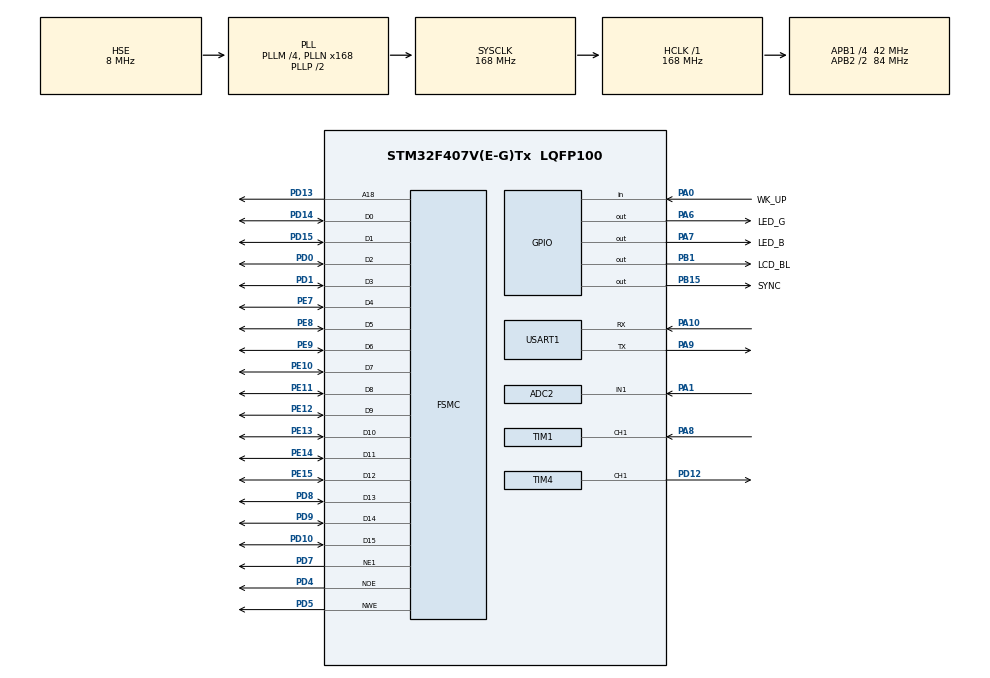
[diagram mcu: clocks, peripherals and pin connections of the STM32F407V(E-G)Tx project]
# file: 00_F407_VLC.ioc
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ADC2.Channel-0\#ChannelRegularConversion=ADC_CHANNEL_1
ADC2.ClockPrescaler=ADC_CLOCK_SYNC_PCLK_DIV4
ADC2.ExternalTrigConv=ADC_EXTERNALTRIGCONV_T3_TRGO
ADC2.NbrOfConversionFlag=1
ADC2.Rank-0\#ChannelRegularConversion=1
ADC2.SamplingTime-0\#ChannelRegularConversion=ADC_SAMPLETIME_480CYCLES
Dma.ADC2.0.Direction=DMA_PERIPH_TO_MEMORY
Dma.ADC2.0.FIFOMode=DMA_FIFOMODE_DISABLE
Dma.ADC2.0.Instance=DMA2_Stream2
Dma.ADC2.0.MemDataAlignment=DMA_MDATAALIGN_HALFWORD
Dma.ADC2.0.MemInc=DMA_MINC_ENABLE
Dma.ADC2.0.Mode=DMA_NORMAL
Dma.ADC2.0.PeriphDataAlignment=DMA_PDATAALIGN_HALFWORD
Dma.ADC2.0.PeriphInc=DMA_PINC_DISABLE
Dma.ADC2.0.Priority=DMA_PRIORITY_LOW
Dma.Request0=ADC2
FSMC.AddressSetupTime1=0
FSMC.BusTurnAroundDuration1=15
FSMC.DataSetupTime1=15
FSMC.ExtendedAddressSetupTime1=0
FSMC.ExtendedBusTurnAroundDuration1=15
FSMC.ExtendedDataSetupTime1=1
FSMC.ExtendedMode1=FSMC_EXTENDED_MODE_ENABLE
Mcu.Family=STM32F4
Mcu.Name=STM32F407V(E-G)Tx
Mcu.Package=LQFP100
NVIC.DMA2_Stream2_IRQn=true\:0\:0\:false\:false\:true\:false\:true\:true
NVIC.PriorityGroup=NVIC_PRIORITYGROUP_4
NVIC.TIM1_CC_IRQn=true\:1\:0\:true\:false\:true\:true\:true\:true
NVIC.TIM2_IRQn=true\:1\:0\:true\:false\:true\:true\:true\:true
NVIC.TIM5_IRQn=true\:2\:0\:true\:false\:true\:true\:true\:true
NVIC.TIM6_DAC_IRQn=true\:5\:0\:true\:false\:true\:true\:true\:true
NVIC.TIM7_IRQn=true\:2\:0\:true\:false\:true\:true\:true\:true
PA0-WKUP.GPIO_Label=WK_UP
PA0-WKUP.GPIO_PuPd=GPIO_PULLDOWN
PA0-WKUP.Signal=GPIO_Input
PA1.Signal=ADCx_IN1
PA10.Mode=Asynchronous
PA10.Signal=USART1_RX
PA13.Mode=Serial_Wire
PA13.Signal=SYS_JTMS-SWDIO
PA14.Mode=Serial_Wire
PA14.Signal=SYS_JTCK-SWCLK
PA6.GPIO_Label=LED_G
PA6.GPIO_PuPd=GPIO_PULLUP
PA6.PinState=GPIO_PIN_SET
PA6.Signal=GPIO_Output
PA7.GPIO_Label=LED_B
PA7.GPIO_PuPd=GPIO_PULLUP
PA7.PinState=GPIO_PIN_SET
PA7.Signal=GPIO_Output
PA8.GPIO_PuPd=GPIO_NOPULL
PA8.Signal=S_TIM1_CH1
PA9.Mode=Asynchronous
PA9.Signal=USART1_TX
PB1.GPIO_Label=LCD_BL
PB1.GPIO_Speed=GPIO_SPEED_FREQ_HIGH
PB1.Signal=GPIO_Output
PB15.GPIO_Label=SYNC
PB15.GPIO_PuPd=GPIO_PULLDOWN
PB15.GPIO_Speed=GPIO_SPEED_FREQ_VERY_HIGH
PB15.Signal=GPIO_Output
PD0.Mode=16b-d1
PD0.Signal=FSMC_D2
PD1.Mode=16b-d1
PD1.Signal=FSMC_D3
PD10.Mode=16b-d1
PD10.Signal=FSMC_D15
PD12.GPIO_Speed=GPIO_SPEED_FREQ_HIGH
PD12.Signal=S_TIM4_CH1
PD13.Mode=A18_1
PD13.Signal=FSMC_A18
PD14.Mode=16b-d1
PD14.Signal=FSMC_D0
PD15.Mode=16b-d1
PD15.Signal=FSMC_D1
PD4.Mode=Lcd1
PD4.Signal=FSMC_NOE
PD5.Mode=Lcd1
PD5.Signal=FSMC_NWE
PD7.Mode=NorPsramChipSelect1_1
PD7.Signal=FSMC_NE1
PD8.Mode=16b-d1
PD8.Signal=FSMC_D13
PD9.Mode=16b-d1
PD9.Signal=FSMC_D14
PE10.Mode=16b-d1
PE10.Signal=FSMC_D7
PE11.Mode=16b-d1
PE11.Signal=FSMC_D8
PE12.Mode=16b-d1
PE12.Signal=FSMC_D9
PE13.Mode=16b-d1
PE13.Signal=FSMC_D10
PE14.Mode=16b-d1
PE14.Signal=FSMC_D11
PE15.Mode=16b-d1
PE15.Signal=FSMC_D12
PE7.Mode=16b-d1
PE7.Signal=FSMC_D4
PE8.Mode=16b-d1
PE8.Signal=FSMC_D5
PE9.Mode=16b-d1
PE9.Signal=FSMC_D6
PH0-OSC_IN.Mode=HSE-External-Oscillator
PH0-OSC_IN.Signal=RCC_OSC_IN
PH1-OSC_OUT.Mode=HSE-External-Oscillator
PH1-OSC_OUT.Signal=RCC_OSC_OUT
ProjectManager.HeapSize=0x200
ProjectManager.StackSize=0x400
ProjectManager.TargetToolchain=STM32CubeIDE
RCC.48MHZClocksFreq_Value=84000000
RCC.AHBFreq_Value=168000000
RCC.APB1CLKDivider=RCC_HCLK_DIV4
RCC.APB1Freq_Value=42000000
RCC.APB1TimFreq_Value=84000000
RCC.APB2CLKDivider=RCC_HCLK_DIV2
RCC.APB2Freq_Value=84000000
RCC.APB2TimFreq_Value=168000000
RCC.CortexFreq_Value=168000000
RCC.HCLKFreq_Value=168000000
RCC.HSE_VALUE=8000000
RCC.HSI_VALUE=16000000
RCC.LSE_VALUE=32768
RCC.PLLM=4
RCC.PLLN=168
RCC.PLLSourceVirtual=RCC_PLLSOURCE_HSE
RCC.SYSCLKFreq_VALUE=168000000
RCC.SYSCLKSource=RCC_SYSCLKSOURCE_PLLCLK
RCC.VCOOutputFreq_Value=336000000
SH.ADCx_IN1.0=ADC2_IN1,IN1
SH.S_TIM1_CH1.0=TIM1_CH1,Input_Capture1_from_TI1
SH.S_TIM4_CH1.0=TIM4_CH1,PWM Generation1 CH1
STMicroelectronics.X-CUBE-ALGOBUILD.1.4.0.LibraryCcDSPOoLibraryJjDSPOoLibrary=true
TIM1.Channel-Input_Capture1_from_TI1=TIM_CHANNEL_1
TIM1.ICFilter_CH1=8
TIM1.Prescaler=84 - 1
TIM2.Period=2625 - 1
TIM2.Prescaler=1 - 1
TIM3.AutoReloadPreload=TIM_AUTORELOAD_PRELOAD_ENABLE
TIM3.Period=525 - 1
TIM3.Prescaler=10 - 1
TIM3.TIM_MasterOutputTrigger=TIM_TRGO_UPDATE
TIM4.Channel-PWM\ Generation1\ CH1=TIM_CHANNEL_1
TIM4.OCPolarity_1=TIM_OCPOLARITY_LOW
TIM4.Period=0
TIM4.Prescaler=1000-1
TIM5.Period=1000 - 1
TIM5.Prescaler=84 - 1
TIM6.Period=5000 - 1
TIM6.Prescaler=8400 - 1
TIM7.Period=10
TIM7.Prescaler=84 - 1
USART1.VirtualMode=VM_ASYNC
VP_STMicroelectronics.X-CUBE-ALGOBUILD_VS_DSPOoLibraryJjLibrary_1.4.0_1.4.0.Mode=DSPOoLibraryJjLibrary
VP_TIM1_VS_ClockSourceINT.Mode=Internal
VP_TIM2_VS_ClockSourceINT.Mode=Internal
VP_TIM3_VS_ClockSourceINT.Mode=Internal
VP_TIM4_VS_ClockSourceINT.Mode=Internal
VP_TIM5_VS_ClockSourceINT.Mode=Internal
VP_TIM6_VS_ClockSourceINT.Mode=Enable_Timer
VP_TIM7_VS_ClockSourceINT.Mode=Enable_Timer
board=custom

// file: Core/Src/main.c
/* USER CODE BEGIN Header */
/**
  ******************************************************************************
  * @file           : main.c
  * @brief          : Main program body
  ******************************************************************************
  * @attention
  *
  * Copyright (c) 2025 STMicroelectronics.
  * All rights reserved.
  *
  * This software is licensed under terms that can be found in the LICENSE file
  * in the root directory of this software component.
  * If no LICENSE file comes with this software, it is provided AS-IS.
  *
  ******************************************************************************
  */
/* USER CODE END Header */
#include "main.h"
#include "adc.h"
#include "dma.h"
#include "tim.h"
#include "usart.h"
#include "gpio.h"
#include "fsmc.h"

/* USER CODE BEGIN Includes */
#include "../../Drivers/BSP/LCD/lcd.h"
#include "arm_math.h"
#include "../../Drivers/BSP/RSS/rss.h"	//三点定位法
#include "../../Drivers/BSP/BEEP/beep.h"
#include "../../Drivers/BSP/KEY/key.h"

/* USER CODE END Includes */

/* USER CODE BEGIN PD */
#define SAMPLE_SIZE 480 * 20	//采样点
#define SAMPLE_RATE 16000	//采样率
#define PI 			3.14159265359f
#define SYNC_CODE_NUM 8
#define THRESHOLD 1800
#define LED_CODE_NUM 8
#define FFH_CODE_NUM 8
#define LED_MESSAGE_NUM 8	//LED消息长度
#define SYNC_NUM_MAX 15 * 20

#define SOUND_FLAG	A	//接收到LED1的数据为A时进入接收音频信息状态
#define TONE_MAX_NUM   100	//音频信息缓冲区大小
/* USER CODE END PD */

/* USER CODE BEGIN PM */
//void fft_process(float32_t* fft_in, float32_t* mag, float32_t* freq);
//void filter_test();

/* USER CODE END PM */

/* USER CODE BEGIN PV */
uint16_t adc_buffer[SAMPLE_SIZE];	//ADC采样数据缓冲区

__IO uint8_t AdcConvEnd = 0;		//ADC采样完成标志

uint16_t capture_buffer[2];			//输入捕获值
uint8_t capture_state = 0;			//0为上升沿捕获，1为下降沿捕获

uint8_t logic_buffer[SAMPLE_SIZE];	//逻辑数据缓冲区，1或0
uint16_t sync_code[SYNC_CODE_NUM] = {1,1,1,0,1,0,1,0};
uint16_t LED0_code[LED_CODE_NUM] = {0,0,0,0,1,0,1,0};	//10
uint16_t LED1_code[LED_CODE_NUM] = {0,0,1,0,1,1,0,1};
uint16_t LED2_code[LED_CODE_NUM] = {0,0,0,1,1,0,0,1};
uint16_t FFH[FFH_CODE_NUM] = {1,1,1,1,1,1,1,1};

int sync_index[SYNC_NUM_MAX];	//存放同步头的索引值
uint8_t sync_num = 0;	//同步头个数
int led_index[SYNC_NUM_MAX];		//存放对应同步头索引值的led类型，0为led0，1为led1，2为led2，-1为无

//存放led对应的光强值
uint32_t led0_intensity = 0;
uint32_t led1_intensity = 0;
uint32_t led2_intensity = 0;

//存放led的位置
Point led_locations[3] = {{0, 10}, {-10, 0}, {10, 0}};	//led0在(0, 10)，led1在(-10, 0)，led2在(10, 0)

//存放PD位置
Point PDlocation = {-1, -1};	//初始化为无效值

//存放led消息
uint8_t led0_message = 0;
uint8_t led1_message = 0;
uint8_t led2_message = 0;

//存放音频的音调和节拍信息
float tones[TONE_MAX_NUM];
uint8_t beats[TONE_MAX_NUM];
uint8_t tone_index = 0;
uint8_t is_recording = 0;

volatile uint8_t message_mode = 0;	//接收的led_message内容 0-矩阵按键	1-乐谱信息
uint8_t debounce_count = 0;	//消抖用
uint8_t get_music_done = 0;	//音乐获取完毕标志
uint32_t beat = 0;	//节拍用
uint8_t play_music_done = 1;

/* USER CODE END PV */

void SystemClock_Config(void);

int main(void)
{

  /* MCU Configuration--------------------------------------------------------*/

  /* Reset of all peripherals, Initializes the Flash interface and the Systick. */
  HAL_Init();

  /* Configure the system clock */
  SystemClock_Config();

  /* Initialize all configured peripherals */
  MX_GPIO_Init();
  MX_DMA_Init();
  MX_FSMC_Init();
  MX_USART1_UART_Init();
  MX_TIM3_Init();
  MX_TIM1_Init();
  MX_TIM2_Init();
  MX_ADC2_Init();
  MX_TIM4_Init();
  MX_TIM5_Init();
  MX_TIM6_Init();
  MX_TIM7_Init();
  /* USER CODE BEGIN 2 */
  //HAL_TIM_Base_Start_IT(&htim6);
  lcd_init();
//  HAL_TIM_Base_Start(&htim3);
  HAL_TIM_IC_Start_IT(&htim1, TIM_CHANNEL_1);
  HAL_TIM_Base_Start_IT(&htim5);

//  lcd_show_string(30, 90, 50, 16, 16, "1K: ", RED);
//  lcd_show_string(30, 110, 50, 16, 16, "2K: ", RED);
//  lcd_show_string(30, 130, 50, 16, 16, "5K: ", RED);
	//初始化同步索引与led索引数组为全-1
	for(int i = 0; i < SYNC_NUM_MAX; i++)
  	{
		sync_index[i] = -1;
		led_index[i] = -1;
  	}

  //filter_test();
  /* USER CODE END 2 */

  /* Infinite loop */
  /* USER CODE BEGIN WHILE */
  while (1)
  {
	  if(key_scan()) {
		  message_mode = (message_mode + 1) % 2;
		  HAL_GPIO_TogglePin(LED_G_GPIO_Port, LED_G_Pin);
	  }
	  if(capture_state == 2 && AdcConvEnd)	//检测buffer是否填满
	  {
		  AdcConvEnd = 0;
		  //HAL_GPIO_TogglePin(LED_B_GPIO_Port, LED_B_Pin);
		  capture_state = 0;
		  HAL_TIM_Base_Stop(&htim3);	//一个buffer填满后重新捕获以同步时钟

		  to_logic();
		  sync();
		  find_led();
		  get_led_intensity();

		  if(message_mode && play_music_done) {
			  get_music();	//获取乐谱信息
			  play_music_done = 0;
			  get_music_done = 1;
			  HAL_TIM_Base_Start_IT(&htim7);	//开始音乐定时器中断
		  }
		  else {
			  get_led_message();
		  }

		  get_location();	//获取PD位置
		  HAL_TIM_IC_Start_IT(&htim1, TIM_CHANNEL_1);
		  HAL_GPIO_TogglePin(LED_B_GPIO_Port, LED_B_Pin);
		  HAL_TIM_Base_Start_IT(&htim6);	//开始LCD定时器中断

	  }

//		  lcd_show_string(30, 90, 50, 16, 16, "1K: ", RED);
//		  lcd_show_string(30, 110, 50, 16, 16, "2K: ", RED);
//		  lcd_show_string(30, 130, 50, 16, 16, "5K: ", RED);
		  //lcd_clear(WHITE);

    /* USER CODE END WHILE */

  }
}

void SystemClock_Config(void)
{
  RCC_OscInitTypeDef RCC_OscInitStruct = {0};
  RCC_ClkInitTypeDef RCC_ClkInitStruct = {0};

  /** Configure the main internal regulator output voltage
  */
  __HAL_RCC_PWR_CLK_ENABLE();
  __HAL_PWR_VOLTAGESCALING_CONFIG(PWR_REGULATOR_VOLTAGE_SCALE1);

  /** Initializes the RCC Oscillators according to the specified parameters
  * in the RCC_OscInitTypeDef structure.
  */
  RCC_OscInitStruct.OscillatorType = RCC_OSCILLATORTYPE_HSE;
  RCC_OscInitStruct.HSEState = RCC_HSE_ON;
  RCC_OscInitStruct.PLL.PLLState = RCC_PLL_ON;
  RCC_OscInitStruct.PLL.PLLSource = RCC_PLLSOURCE_HSE;
  RCC_OscInitStruct.PLL.PLLM = 4;
  RCC_OscInitStruct.PLL.PLLN = 168;
  RCC_OscInitStruct.PLL.PLLP = RCC_PLLP_DIV2;
  RCC_OscInitStruct.PLL.PLLQ = 4;
  if (HAL_RCC_OscConfig(&RCC_OscInitStruct) != HAL_OK)
  {
    Error_Handler();
  }

  /** Initializes the CPU, AHB and APB buses clocks
  */
  RCC_ClkInitStruct.ClockType = RCC_CLOCKTYPE_HCLK|RCC_CLOCKTYPE_SYSCLK
                              |RCC_CLOCKTYPE_PCLK1|RCC_CLOCKTYPE_PCLK2;
  RCC_ClkInitStruct.SYSCLKSource = RCC_SYSCLKSOURCE_PLLCLK;
  RCC_ClkInitStruct.AHBCLKDivider = RCC_SYSCLK_DIV1;
  RCC_ClkInitStruct.APB1CLKDivider = RCC_HCLK_DIV4;
  RCC_ClkInitStruct.APB2CLKDivider = RCC_HCLK_DIV2;

  if (HAL_RCC_ClockConfig(&RCC_ClkInitStruct, FLASH_LATENCY_5) != HAL_OK)
  {
    Error_Handler();
  }
}

/* USER CODE BEGIN 4 */

void HAL_TIM_PeriodElapsedCallback(TIM_HandleTypeDef *htim)
{
	if(htim->Instance == TIM2)
	{
		__HAL_TIM_SET_COUNTER(&htim3, 0);	//计时值清零
		HAL_TIM_Base_Start(&htim3);		//开启16k定时器3
		HAL_ADC_Start_DMA(&hadc2, (uint32_t*)adc_buffer, SAMPLE_SIZE);	//进行ADCDMA采集
		HAL_TIM_Base_Stop_IT(&htim2);	//关闭32k定时器中断
	}
//	if(htim->Instance == TIM3)
//	{
//		HAL_GPIO_TogglePin(SYNC_GPIO_Port, SYNC_Pin);
//	}
	else if(htim->Instance == TIM5)
	{
		debounce_count++;	//每1ms自增一次
		beat++;
	}
	else if(htim->Instance == TIM6)		//lcd每500ms刷新一次内容
	{
		//LCD
		char string_x[30];
		char string_y[30];
		char led0_message_str[30];
		char led1_message_str[30];
		char led2_message_str[30];
		sprintf(string_x, "x: %.3f", PDlocation.x);
		sprintf(string_y, "y: %.3f", PDlocation.y);
		sprintf(led0_message_str, "LED0: %d", led0_message);
		sprintf(led1_message_str, "LED1: %X", led1_message);
		sprintf(led2_message_str, "LED2: %d", led2_message);
		lcd_clear(WHITE);
		lcd_show_xnum(30, 30, led0_intensity, 4, 16, 0X80, RED);
		lcd_show_xnum(110, 30, led1_intensity, 4, 16, 0X80, RED);
		lcd_show_xnum(190, 30, led2_intensity, 4, 16, 0X80, RED);
		// lcd_show_xnum(30, 240, x, 4, 16, 0X00, RED);
		// lcd_show_xnum(60, 240, x_small, 4, 16, 0X00, RED);
		// lcd_show_xnum(30, 270, y, 4, 16, 0X00, RED);
		// lcd_show_xnum(60, 270, y_small, 4, 16, 0X00, RED);
		lcd_show_string(60, 60, 200, 32, 32, string_x, BLUE);
		lcd_show_string(60, 90, 200, 32, 32, string_y, BLUE);
		lcd_show_string(60, 150, 200, 32, 32, led0_message_str, DARKBLUE);
		lcd_show_string(60, 180, 200, 32, 32, led1_message_str, DARKBLUE);
		lcd_show_string(60, 210, 200, 32, 32, led2_message_str, DARKBLUE);
		HAL_TIM_Base_Stop_IT(&htim6);	//关闭LCD定时器中断
	}
	else if(htim->Instance == TIM7)
	{
		if(get_music_done)
		{
			play_music();

		}
	}
}

void HAL_TIM_IC_CaptureCallback(TIM_HandleTypeDef *htim)
{
	if(htim->Instance == TIM1)
	{
		switch(capture_state)
		{
			case 0 :
				capture_buffer[0] = HAL_TIM_ReadCapturedValue(&htim1, TIM_CHANNEL_1);	//捕获上升沿
				__HAL_TIM_SET_CAPTUREPOLARITY(&htim1, TIM_CHANNEL_1, TIM_ICPOLARITY_FALLING);
				capture_state = 1;
				break;
			case 1 :
				capture_buffer[1] = HAL_TIM_ReadCapturedValue(&htim1, TIM_CHANNEL_1);	//捕获下降沿
				if(capture_buffer[1] - capture_buffer[0] <= 50)	//高电平时间太短，判定为误判
				{
					__HAL_TIM_SET_CAPTUREPOLARITY(&htim1, TIM_CHANNEL_1, TIM_ICPOLARITY_RISING);
					capture_state = 0;
				}
				else
				{
					__HAL_TIM_SET_CAPTUREPOLARITY(&htim1, TIM_CHANNEL_1, TIM_ICPOLARITY_RISING);
					capture_state = 2;
					HAL_TIM_IC_Stop_IT(&htim1, TIM_CHANNEL_1);	//关闭捕获

//					HAL_TIM_Base_Start(&htim3);		//开启定时器
					__HAL_TIM_SET_COUNTER(&htim2, 0);	//计时值清零
					HAL_TIM_Base_Start_IT(&htim2);	//开始32k定时器中断
//					HAL_ADC_Start_DMA(&hadc2, (uint32_t*)adc_buffer, SAMPLE_SIZE);	//进行ADCDMA采集
				}
				break;
		}

	}

}

void to_logic()
{
	for(int i = 0; i < SAMPLE_SIZE; i++)
	{
		if(adc_buffer[i] > THRESHOLD)
		{
			logic_buffer[i] = 1;
		}
		else
		{
			logic_buffer[i] = 0;
		}
	}
}

void sync()
{
	sync_num = 0;
	for(int i = 0; i < SAMPLE_SIZE - SYNC_CODE_NUM; i++)
	{
		uint8_t sync_score = 0;
		for(int j = i; j < i + SYNC_CODE_NUM; j++)
		{
			if(logic_buffer[j] == sync_code[j - i])
			{
				sync_score++;
			}
		}
		if(sync_score >= 8)
		{
			sync_index[sync_num] = i;
			sync_num++;
		}
	}
}

void find_led()
{
	for(int i = 0; i < sync_num - 1; i++)	//舍弃最后一个同步头，防止越界
	{
		int index = sync_index[i];
		uint8_t led0_score = 0;
		uint8_t led1_score = 0;
		uint8_t led2_score = 0;
		if(index > -1)
		{
			for(int j = index + SYNC_CODE_NUM; j < index + SYNC_CODE_NUM + LED_CODE_NUM; j++)
			{
				if(logic_buffer[j] == LED0_code[j - index - SYNC_CODE_NUM])
				{
					led0_score++;
				}
				if(logic_buffer[j] == LED1_code[j - index - SYNC_CODE_NUM])
				{
					led1_score++;
				}
				if(logic_buffer[j] == LED2_code[j - index - SYNC_CODE_NUM])
				{
					led2_score++;
				}
			}
			if(led0_score >= 8)
			{
				led_index[i] = 0;
			}
			else if(led1_score >= 8)
			{
				led_index[i] = 1;
			}
			else if(led2_score >= 8)
			{
				led_index[i] = 2;
			}
		}
	}
}

void get_led_intensity()
{
	uint32_t led0_intensity_sum = 0;
	uint32_t led1_intensity_sum = 0;
	uint32_t led2_intensity_sum = 0;

	uint16_t led0_num = 0;
	uint16_t led1_num = 0;
	uint16_t led2_num = 0;

	for(int i = 0; i < sync_num - 1; i++)	//舍弃最后一个同步头，防止越界
	{
		int led = led_index[i];
		int index = sync_index[i];
		switch(led)
		{
			case 0:
				for(int j = 1; j < FFH_CODE_NUM; j++)
				{
					led0_intensity_sum += adc_buffer[j + index + SYNC_CODE_NUM + LED_CODE_NUM];
					led0_num++;
				}
				break;
			case 1:
				for(int j = 1; j < FFH_CODE_NUM; j++)
				{
					led1_intensity_sum += adc_buffer[j + index + SYNC_CODE_NUM + LED_CODE_NUM];
					led1_num++;
				}
				break;
			case 2:
				for(int j = 1; j < FFH_CODE_NUM; j++)
				{
					led2_intensity_sum += adc_buffer[j + index + SYNC_CODE_NUM + LED_CODE_NUM];
					led2_num++;
				}
				break;
			default :

				break;
		}
	}
	led0_intensity = (led0_num > 0 && led0_intensity_sum > 0) ? led0_intensity_sum / led0_num : led0_intensity;	//避免除数为0
	led1_intensity = (led1_num > 0 && led1_intensity_sum > 0) ? led1_intensity_sum / led1_num : led1_intensity;
	led2_intensity = (led2_num > 0 && led2_intensity_sum > 0) ? led2_intensity_sum / led2_num : led2_intensity;
}

void get_led_message()
{

	for(int i = 0; i < sync_num - 5; i++)	//舍弃最后几个同步头，防止越界
	{
		int led = led_index[i];
		int index = sync_index[i];
		switch(led)
		{
			case 0:
				led0_message = 0;
				for(int j = 0; j < LED_MESSAGE_NUM; j++)
				{
					uint8_t logic = logic_buffer[j + index + SYNC_CODE_NUM + LED_CODE_NUM + FFH_CODE_NUM];
					led0_message |= (logic << (LED_MESSAGE_NUM - 1 - j));	//将逻辑值转换为二进制消息
				}
				break;
			case 1:
				led1_message = 0;
				for(int j = 0; j < LED_MESSAGE_NUM; j++)
				{
					uint8_t logic = logic_buffer[j + index + SYNC_CODE_NUM + LED_CODE_NUM + FFH_CODE_NUM];
					led1_message |= (logic << (LED_MESSAGE_NUM - 1 - j));	//将逻辑值转换为二进制消息
				}
				break;
			case 2:
				led2_message = 0;
				for(int j = 0; j < LED_MESSAGE_NUM; j++)
				{
					uint8_t logic = logic_buffer[j + index + SYNC_CODE_NUM + LED_CODE_NUM + FFH_CODE_NUM];
					led2_message |= (logic << (LED_MESSAGE_NUM - 1 - j));	//将逻辑值转换为二进制消息
				}
				break;
			default :

				break;
		}
	}
}

void get_location()
{
	uint16_t location = 0;
	float led0_radius = 0.0f;
	float led1_radius = 0.0f;
	float led2_radius = 0.0f;

//	led0_radius = -8.258245051149834e-11*led0_intensity*led0_intensity*led0_intensity*led0_intensity+8.603303598173248e-7*led0_intensity*led0_intensity*led0_intensity-0.003343692130742398*led0_intensity*led0_intensity+5.716859893344553*led0_intensity-3581.1780710049975;	//根据实验数据拟合的函数
//	led1_radius = -3.5960151839135584e-10*led1_intensity*led1_intensity*led1_intensity*led1_intensity+0.000003851077174734846*led1_intensity*led1_intensity*led1_intensity-0.015389238714354235*led1_intensity*led1_intensity+27.158329518946147*led1_intensity-17805.994712478332;
//	led2_radius =  -5.040206617568613e-11*led2_intensity*led2_intensity*led2_intensity*led2_intensity+4.751187260064662e-7*led2_intensity*led2_intensity*led2_intensity-0.0016747497267775738*led2_intensity*led2_intensity+2.58985725128424*led2_intensity-1435.2323446989374;

	if(led0_intensity <= 3325 && led0_intensity >= 3300){
		led0_radius = -0.2*led0_intensity+665;
	}else if(led0_intensity <= 3300 && led0_intensity >= 3200){
		led0_radius = -0.05*led0_intensity+170;
	}else if(led0_intensity <= 3200 && led0_intensity >= 3075){
		led0_radius = -0.04*led0_intensity+138;
	}else if(led0_intensity <= 3075 && led0_intensity >= 2900){
		led0_radius = -0.0286*led0_intensity+102.8571;
	}else if(led0_intensity <= 2900 && led0_intensity >= 2730){
		led0_radius = -0.0294*led0_intensity+105.2941;
	}else if(led0_intensity <= 2730 && led0_intensity >= 2560){
		led0_radius = -0.0294*led0_intensity+105.2941;
	}else if(led0_intensity <= 2560 && led0_intensity >= 2360){
		led0_radius = -0.025*led0_intensity+94;
	}else if(led0_intensity <= 2360){
		led0_radius = -0.025*led0_intensity+94;
	}else{
		led0_radius = 1;
	}

	if(led1_intensity <= 3270 && led1_intensity >= 3210){
			led1_radius = -0.0833*led1_intensity+272.5;
		}else if(led1_intensity <= 3210 && led1_intensity >= 3150){
			led1_radius = -0.0833*led1_intensity+272.5;
		}else if(led1_intensity <= 3150 && led1_intensity >= 3030){
			led1_radius = -0.0417*led1_intensity+141.25;
		}else if(led1_intensity <= 3030 && led1_intensity >= 2890){
			led1_radius = -0.0357*led1_intensity+123.2143;
		}else if(led1_intensity <= 2890 && led1_intensity >= 2740){
			led1_radius = -0.0333*led1_intensity+116.3333;
		}else if(led1_intensity <= 2740 && led1_intensity >= 2530){
			led1_radius = -0.0238*led1_intensity+90.2381;
		}else if(led1_intensity <= 2530 && led1_intensity >= 2330){
			led1_radius = -0.025*led1_intensity+93.25;
		}else if(led1_intensity <= 2330){
			led1_radius = -0.0312*led1_intensity+107.8125;
		}else{
			led1_radius = 1;
		}

	if(led2_intensity <= 3260 && led2_intensity >= 3220){
			led2_radius = -0.125*led2_intensity+407.5;
		}else if(led2_intensity <= 3220 && led2_intensity >= 3120){
			led2_radius = -0.05*led2_intensity+166;
		}else if(led2_intensity <= 3120 && led2_intensity >= 2990){
			led2_radius = -0.0385*led2_intensity+130;
		}else if(led2_intensity <= 2990 && led2_intensity >= 2835){
			led2_radius = -0.0323*led2_intensity+111.4516;
		}else if(led2_intensity <= 2835 && led2_intensity >= 2660){
			led2_radius = -0.0286*led2_intensity+101;
		}else if(led2_intensity <= 2660 && led2_intensity >= 2475){
			led2_radius = -0.0270*led2_intensity+96.8919;
		}else if(led2_intensity <= 2475 && led2_intensity >= 2275){
			led2_radius = -0.025*led2_intensity+91.875;
		}else if(led2_intensity <= 2275){
			led2_radius =  -0.0225*led2_intensity+86.2387;
		}else{
			led2_radius = 1;
		}

	float distances[3] = {led0_radius > 0 ? led0_radius : 1, led1_radius > 0 ? led1_radius : 1, led2_radius > 0 ? led2_radius : 1};	//存放距离

	PDlocation = getPDlocation(distances, led_locations);	//调用三点定位法获取PD位置
}

/* USER CODE END 4 */

void Error_Handler(void)
{
  __disable_irq();
  while (1)
  {
  }
}
